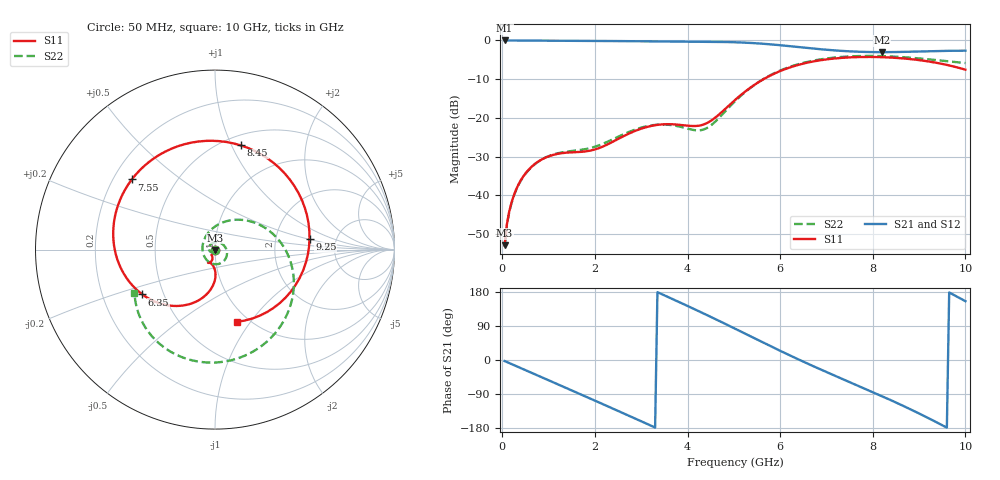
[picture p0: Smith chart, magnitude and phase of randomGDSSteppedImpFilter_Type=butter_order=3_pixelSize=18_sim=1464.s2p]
! freq	dB(S11)	phase(S11)	dB(S12)	phase(S12)
!  dB(S21)	phase(S21)	dB(S22)	phase(S22)
!S-par simulation data
#  GHz  S  DB  R 50
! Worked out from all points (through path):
!   200 points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, 50 MHz to 10 GHz, reference 50 ohm
!   highest |S21| = -0.01 dB at 50 MHz (marker M1); lowest = -3.0 dB at 8.2 GHz (marker M2)
!   group delay of S21, straight-line fit = 157 ps
!   lowest |S11| = -52.9 dB at 50 MHz (marker M3), VSWR 1.00, Z = 50 - j0.227 ohm
!   |S11| at or under -10 dB: start of sweep to 5.641 GHz
!   |S22| runs from -53.1 to -4.0 dB; largest |S21 - S12| = 0
!   S11 on the Smith chart (normalised r, x): 50 MHz: 1.00, -0.00; 6.35 GHz: 0.38, -0.25; 7.55 GHz: 0.28, +0.34; 8.45 GHz: 0.60, +1.09; 9.25 GHz: 3.16, +0.53; 10 GHz: 0.88, -0.86
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0.05  -52.87 -85.3  -0.01 -2.7  -0.01 -2.7  -53.08 -88.9
0.1  -47.39 -87.7  -0.01 -5.4  -0.01 -5.4  -47.46 -92.6
0.2  -41.80 -93.6  -0.02 -10.8  -0.02 -10.8  -41.92 -102.2
0.55  -33.60 -107.6  -0.04 -29.5  -0.04 -29.5  -33.69 -132.0
1.2  -29.24 -123.5  -0.08 -64.2  -0.08 -64.2  -29.11 171.0
1.75  -28.70 -121.1  -0.11 -93.7  -0.11 -93.7  -28.13 110.0
2.65  -24.52 -105.4  -0.18 -142.5  -0.18 -142.5  -24.04 2.0
3.4  -21.71 -115.3  -0.26 176.2  -0.26 176.2  -21.70 -68.6
3.85  -21.80 -118.2  -0.29 151.1  -0.29 151.1  -22.29 -115.0
4.35  -21.68 -103.2  -0.33 122.6  -0.33 122.6  -22.97 168.4
5.05  -15.11 -90.7  -0.48 81.3  -0.48 81.3  -15.41 68.4
5.75  -9.29 -116.6  -0.97 39.1  -0.97 39.1  -9.21 12.0
6.35  -6.45 -148.3  -1.65 4.1  -1.65 4.1  -6.27 -25.4
6.7  -5.46 -168.3  -2.08 -15.5  -2.08 -15.5  -5.25 -44.2
7.55  -4.35 139.9  -2.85 -60.9  -2.85 -60.9  -4.10 -82.6
8.2  -4.32 95.1  -3.02 -95.5  -3.02 -95.5  -4.05 -106.5
8.35  -4.40 83.8  -3.02 -103.7  -3.02 -103.7  -4.11 -111.4
8.45  -4.46 76.1  -3.00 -109.3  -3.00 -109.3  -4.17 -114.6
8.9  -4.93 38.7  -2.89 -135.2  -2.89 -135.2  -4.54 -127.7
9.25  -5.51 6.5  -2.78 -156.4  -2.78 -156.4  -4.92 -136.5
9.6  -6.32 -28.8  -2.69 -178.5  -2.69 -178.5  -5.35 -144.2
10  -7.54 -73.4  -2.65 155.2  -2.65 155.2  -5.84 -151.5
